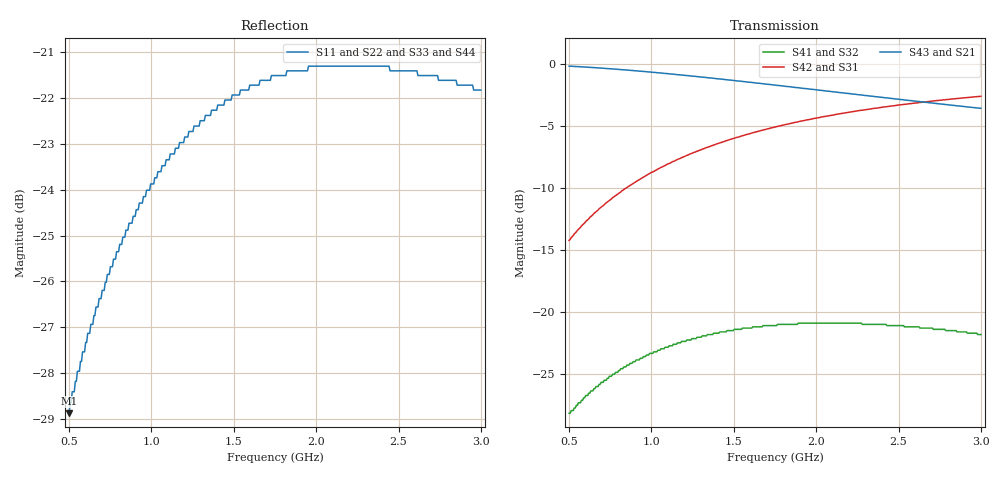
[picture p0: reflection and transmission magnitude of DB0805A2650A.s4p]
!	AVX THIN FILM OPERATION
!	0805 SIZE 3dB 90deg COUPLER P/N DB0805A2650AWTR
!	Created March 23 2003
!	Network Analyzer HP8720E S.07.64: Feb23, 2000 Serial No.US39172382
#	MHZ	S	MA	R	50
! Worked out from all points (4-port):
!   400 points, 500 MHz to 3 GHz, reference 50 ohm
!   strongest paths, dB at 500 MHz, 1.127 GHz, 1.753 GHz, 2.38 GHz, 3 GHz:
!     S43: -0.2, -0.8, -1.7, -2.7, -3.6
!     S21: -0.2, -0.8, -1.7, -2.7, -3.6
!     S42: -14.2, -7.9, -5.1, -3.6, -2.6
!     S31: -14.2, -7.9, -5.1, -3.6, -2.6
!     S41: -28.2, -22.7, -21.1, -21.0, -21.8
!     S32: -28.2, -22.7, -21.1, -21.0, -21.8
!   lowest |S11| = -28.9 dB at 500 MHz (marker M1), VSWR 1.07, Z = 48.6 - j3.27 ohm
!   |S11| at or under -10 dB: start of sweep to end of sweep
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500  0.036 -111.2  0.977 -12.2  0.194 77.3  0.039 66.9
     0.977 -12.2  0.036 -111.2  0.039 66.9  0.194 77.3
     0.194 77.3  0.039 66.9  0.036 -111.2  0.977 -12.2
     0.039 66.9  0.194 77.3  0.977 -12.2  0.036 -111.2
662.907  0.047 -119.5  0.963 -16.0  0.253 73.4  0.05 59.7
         0.963 -16.0  0.047 -119.5  0.05 59.7  0.253 73.4
         0.253 73.4  0.05 59.7  0.047 -119.5  0.963 -16.0
         0.05 59.7  0.253 73.4  0.963 -16.0  0.047 -119.5
863.409  0.058 -129.0  0.941 -20.5  0.321 68.8  0.061 51.3
         0.941 -20.5  0.058 -129.0  0.061 51.3  0.321 68.8
         0.321 68.8  0.061 51.3  0.058 -129.0  0.941 -20.5
         0.061 51.3  0.321 68.8  0.941 -20.5  0.058 -129.0
1057.644  0.066 -137.5  0.917 -24.6  0.382 64.6  0.071 43.6
          0.917 -24.6  0.066 -137.5  0.071 43.6  0.382 64.6
          0.382 64.6  0.071 43.6  0.066 -137.5  0.917 -24.6
          0.071 43.6  0.382 64.6  0.917 -24.6  0.066 -137.5
1414.787  0.078 -151.8  0.868 -31.6  0.479 57.5  0.083 30.7
          0.868 -31.6  0.078 -151.8  0.083 30.7  0.479 57.5
          0.479 57.5  0.083 30.7  0.078 -151.8  0.868 -31.6
          0.083 30.7  0.479 57.5  0.868 -31.6  0.078 -151.8
2273.183  0.086 -180.0  0.748 -45.2  0.649 43.8  0.09 6.5
          0.748 -45.2  0.086 -180.0  0.09 6.5  0.649 43.8
          0.649 43.8  0.09 6.5  0.086 -180.0  0.748 -45.2
          0.09 6.5  0.649 43.8  0.748 -45.2  0.086 -180.0
3000  0.081 161.3  0.661 -54.1  0.739 35.1  0.081 -7.3
      0.661 -54.1  0.081 161.3  0.081 -7.3  0.739 35.1
      0.739 35.1  0.081 -7.3  0.081 161.3  0.661 -54.1
      0.081 -7.3  0.739 35.1  0.661 -54.1  0.081 161.3
